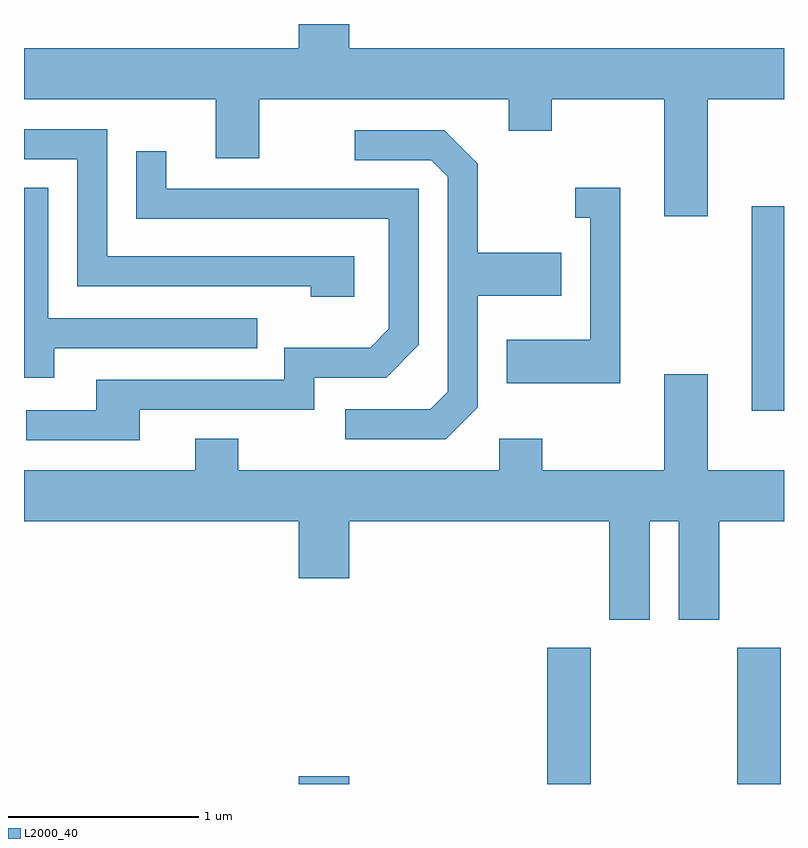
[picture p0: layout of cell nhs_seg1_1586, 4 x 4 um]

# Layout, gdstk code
import gdstk
lib = gdstk.Library(unit=1e-6, precision=1e-09)
def R(c, l, rs):  # rectangles x0, y0, x1, y1
    for r in rs: c.add(gdstk.rectangle(r[:2], r[2:], *l))
def P(c, l, *ps):  # polygons
    for p in ps: c.add(gdstk.Polygon(p, *l))
L2000_40 = (2000, 40)

nhs_seg1_1586 = lib.new_cell('nhs_seg1_1586')
R(nhs_seg1_1586, L2000_40, [(235.056,933.712,235.324,933.754), (236.366,933.712,236.594,934.429), (237.366,933.712,237.594,934.429), (237.441,935.676,237.611,936.754)])
P(nhs_seg1_1586, L2000_40, [(237.209,937.316),(237.611,937.316),(237.611,937.584),(235.324,937.584),(235.324,937.712),(235.056,937.712),(235.056,937.584),(233.611,937.584),(233.611,937.316),(234.621,937.316),(234.621,937.006),(234.849,937.006),(234.849,937.316),(236.161,937.316),(236.161,937.151),(236.389,937.151),(236.389,937.316),(236.981,937.316),(236.981,936.701),(237.209,936.701)],
  [(235.349,936.489),(234.049,936.489),(234.049,937.159),(233.611,937.159),(233.611,937.001),(233.891,937.001),(233.891,936.331),(235.121,936.331),(235.121,936.276),(235.349,936.276)],
  [(235.999,935.694),(235.999,936.281),(236.439,936.281),(236.439,936.509),(235.999,936.509),(235.999,936.977),(235.822,937.154),(235.353,937.154),(235.353,936.996),(235.754,936.996),(235.841,936.909),(235.841,935.777),(235.749,935.684),(235.303,935.684),(235.303,935.526),(235.832,935.526)],
  [(234.219,935.681),(235.139,935.681),(235.139,935.851),(235.517,935.851),(235.689,936.024),(235.689,936.844),(234.359,936.844),(234.359,937.043),(234.201,937.043),(234.201,936.686),(235.531,936.686),(235.531,936.107),(235.434,936.009),(234.981,936.009),(234.981,935.839),(233.991,935.839),(233.991,935.679),(233.623,935.679),(233.623,935.521),(234.219,935.521)],
  [(236.749,936.849),(236.513,936.849),(236.513,936.691),(236.591,936.691),(236.591,936.049),(236.151,936.049),(236.151,935.821),(236.749,935.821)],
  [(233.769,936.006),(234.838,936.006),(234.838,936.164),(233.739,936.164),(233.739,936.849),(233.611,936.849),(233.611,935.851),(233.769,935.851)],
  [(236.904,935.096),(237.056,935.096),(237.056,934.576),(237.269,934.576),(237.269,935.096),(237.611,935.096),(237.611,935.364),(237.209,935.364),(237.209,935.869),(236.981,935.869),(236.981,935.364),(236.339,935.364),(236.339,935.529),(236.111,935.529),(236.111,935.364),(234.739,935.364),(234.739,935.529),(234.511,935.529),(234.511,935.364),(233.611,935.364),(233.611,935.096),(235.056,935.096),(235.056,934.796),(235.324,934.796),(235.324,935.096),(236.691,935.096),(236.691,934.576),(236.904,934.576)])

lib.write_gds('nhs_seg1_1586.gds')
